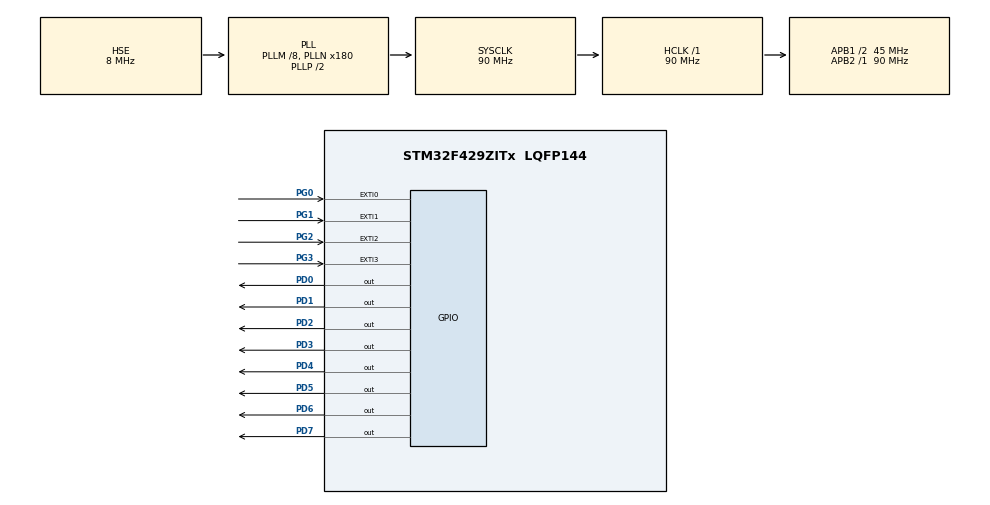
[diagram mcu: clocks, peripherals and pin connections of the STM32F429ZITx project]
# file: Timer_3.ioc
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Mcu.Family=STM32F4
Mcu.Name=STM32F429ZITx
Mcu.Package=LQFP144
NVIC.EXTI0_IRQn=true\:0\:0\:false\:false\:true\:true\:true\:true
NVIC.EXTI1_IRQn=true\:0\:0\:false\:false\:true\:true\:true\:true
NVIC.EXTI2_IRQn=true\:0\:0\:false\:false\:true\:true\:true\:true
NVIC.EXTI3_IRQn=true\:0\:0\:false\:false\:true\:true\:true\:true
NVIC.PriorityGroup=NVIC_PRIORITYGROUP_4
NVIC.TIM3_IRQn=true\:0\:0\:false\:false\:true\:true\:true\:true
NVIC.TIM6_DAC_IRQn=true\:0\:0\:false\:false\:true\:true\:true\:true
PA13.Mode=Serial_Wire
PA13.Signal=SYS_JTMS-SWDIO
PA14.Mode=Serial_Wire
PA14.Signal=SYS_JTCK-SWCLK
PD0.GPIO_ModeDefaultOutputPP=GPIO_MODE_OUTPUT_PP
PD0.GPIO_PuPd=GPIO_PULLUP
PD0.GPIO_Speed=GPIO_SPEED_FREQ_HIGH
PD0.PinState=GPIO_PIN_RESET
PD0.Signal=GPIO_Output
PD1.GPIO_ModeDefaultOutputPP=GPIO_MODE_OUTPUT_PP
PD1.GPIO_PuPd=GPIO_PULLUP
PD1.GPIO_Speed=GPIO_SPEED_FREQ_HIGH
PD1.PinState=GPIO_PIN_RESET
PD1.Signal=GPIO_Output
PD2.GPIO_ModeDefaultOutputPP=GPIO_MODE_OUTPUT_PP
PD2.GPIO_PuPd=GPIO_PULLUP
PD2.GPIO_Speed=GPIO_SPEED_FREQ_HIGH
PD2.PinState=GPIO_PIN_RESET
PD2.Signal=GPIO_Output
PD3.GPIO_ModeDefaultOutputPP=GPIO_MODE_OUTPUT_PP
PD3.GPIO_PuPd=GPIO_PULLUP
PD3.GPIO_Speed=GPIO_SPEED_FREQ_HIGH
PD3.PinState=GPIO_PIN_RESET
PD3.Signal=GPIO_Output
PD4.GPIO_ModeDefaultOutputPP=GPIO_MODE_OUTPUT_PP
PD4.GPIO_PuPd=GPIO_PULLUP
PD4.GPIO_Speed=GPIO_SPEED_FREQ_HIGH
PD4.PinState=GPIO_PIN_RESET
PD4.Signal=GPIO_Output
PD5.GPIO_ModeDefaultOutputPP=GPIO_MODE_OUTPUT_PP
PD5.GPIO_PuPd=GPIO_PULLUP
PD5.GPIO_Speed=GPIO_SPEED_FREQ_HIGH
PD5.PinState=GPIO_PIN_RESET
PD5.Signal=GPIO_Output
PD6.GPIO_ModeDefaultOutputPP=GPIO_MODE_OUTPUT_PP
PD6.GPIO_PuPd=GPIO_PULLUP
PD6.GPIO_Speed=GPIO_SPEED_FREQ_HIGH
PD6.PinState=GPIO_PIN_RESET
PD6.Signal=GPIO_Output
PD7.GPIO_ModeDefaultOutputPP=GPIO_MODE_OUTPUT_PP
PD7.GPIO_PuPd=GPIO_PULLUP
PD7.GPIO_Speed=GPIO_SPEED_FREQ_HIGH
PD7.PinState=GPIO_PIN_RESET
PD7.Signal=GPIO_Output
PG0.GPIO_ModeDefaultEXTI=GPIO_MODE_IT_FALLING
PG0.GPIO_PuPd=GPIO_NOPULL
PG0.Signal=GPXTI0
PG1.GPIO_ModeDefaultEXTI=GPIO_MODE_IT_FALLING
PG1.GPIO_PuPd=GPIO_NOPULL
PG1.Signal=GPXTI1
PG2.GPIO_ModeDefaultEXTI=GPIO_MODE_IT_FALLING
PG2.GPIO_PuPd=GPIO_NOPULL
PG2.Signal=GPXTI2
PG3.GPIO_ModeDefaultEXTI=GPIO_MODE_IT_FALLING
PG3.GPIO_PuPd=GPIO_NOPULL
PG3.Signal=GPXTI3
PH0/OSC_IN.Mode=HSE-External-Clock-Source
PH0/OSC_IN.Signal=RCC_OSC_IN
PH1/OSC_OUT.Mode=HSE-External-Clock-Source
PH1/OSC_OUT.Signal=RCC_OSC_OUT
ProjectManager.HeapSize=0x200
ProjectManager.StackSize=0x400
ProjectManager.TargetToolchain=STM32CubeIDE
RCC.48MHZClocksFreq_Value=45000000
RCC.AHBFreq_Value=90000000
RCC.APB1CLKDivider=RCC_HCLK_DIV2
RCC.APB1Freq_Value=45000000
RCC.APB1TimFreq_Value=90000000
RCC.APB2Freq_Value=90000000
RCC.APB2TimFreq_Value=90000000
RCC.CortexFreq_Value=90000000
RCC.HCLKFreq_Value=90000000
RCC.HSE_VALUE=8000000
RCC.HSI_VALUE=16000000
RCC.LSE_VALUE=32768
RCC.PLLM=8
RCC.PLLN=180
RCC.PLLSourceVirtual=RCC_PLLSOURCE_HSE
RCC.SYSCLKFreq_VALUE=90000000
RCC.SYSCLKSource=RCC_SYSCLKSOURCE_PLLCLK
RCC.VCOOutputFreq_Value=180000000
TIM3.CounterMode=TIM_COUNTERMODE_DOWN
TIM3.Period=4999
TIM3.Prescaler=8999
TIM6.Period=19999
TIM6.Prescaler=8999
VP_TIM3_VS_ClockSourceINT.Mode=Internal
VP_TIM6_VS_ClockSourceINT.Mode=Enable_Timer
board=custom

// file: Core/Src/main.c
/* USER CODE BEGIN Header */
/**
  ******************************************************************************
  * @file           : main.c
  * @brief          : Main program body
  ******************************************************************************
  * @attention
  *
  * Copyright (c) 2022 STMicroelectronics.
  * All rights reserved.
  *
  * This software is licensed under terms that can be found in the LICENSE file
  * in the root directory of this software component.
  * If no LICENSE file comes with this software, it is provided AS-IS.
  *
  ******************************************************************************
  */
/* USER CODE END Header */
#include "main.h"

TIM_HandleTypeDef htim3;
TIM_HandleTypeDef htim6;

void SystemClock_Config(void);
static void MX_GPIO_Init(void);
static void MX_TIM3_Init(void);
static void MX_TIM6_Init(void);
/* USER CODE BEGIN PFP */
void LED_OnOff(int,int);
int speed3 = 0, speed4 = 0;
/* USER CODE END PFP */

int main(void)
{
  /* USER CODE BEGIN 1 */
	uint16_t led = 0x01;
	uint16_t led1 = 0x80;
  /* USER CODE END 1 */

  /* MCU Configuration--------------------------------------------------------*/

  /* Reset of all peripherals, Initializes the Flash interface and the Systick. */
  HAL_Init();

  /* Configure the system clock */
  SystemClock_Config();

  /* Initialize all configured peripherals */
  MX_GPIO_Init();
  MX_TIM3_Init();
  MX_TIM6_Init();
  /* USER CODE BEGIN 2 */
  LED_OnOff(LED_ALL,500);
  HAL_TIM_Base_Start_IT(&htim3);
  HAL_TIM_Base_Start_IT(&htim6);
  /* USER CODE END 2 */

  /* Infinite loop */
  /* USER CODE BEGIN WHILE */
  while (1)
  {
	  if(speed3 == 1){
		  led <<=1;
		  if(led > 0x80){
			  led = 0x01;
			  LED_OnOff(led, 500);
		  }

	  }
	  else if(speed4 == 1){
		  led1 >>=1;
		  if(led1 > 0x01){
			  led1 = 0x80;
			  LED_OnOff(led1, 500);
		  }
	  }
    /* USER CODE END WHILE */

  }
}

void SystemClock_Config(void)
{
  RCC_OscInitTypeDef RCC_OscInitStruct = {0};
  RCC_ClkInitTypeDef RCC_ClkInitStruct = {0};

  /** Configure the main internal regulator output voltage
  */
  __HAL_RCC_PWR_CLK_ENABLE();
  __HAL_PWR_VOLTAGESCALING_CONFIG(PWR_REGULATOR_VOLTAGE_SCALE3);

  /** Initializes the RCC Oscillators according to the specified parameters
  * in the RCC_OscInitTypeDef structure.
  */
  RCC_OscInitStruct.OscillatorType = RCC_OSCILLATORTYPE_HSE;
  RCC_OscInitStruct.HSEState = RCC_HSE_BYPASS;
  RCC_OscInitStruct.PLL.PLLState = RCC_PLL_ON;
  RCC_OscInitStruct.PLL.PLLSource = RCC_PLLSOURCE_HSE;
  RCC_OscInitStruct.PLL.PLLM = 8;
  RCC_OscInitStruct.PLL.PLLN = 180;
  RCC_OscInitStruct.PLL.PLLP = RCC_PLLP_DIV2;
  RCC_OscInitStruct.PLL.PLLQ = 4;
  if (HAL_RCC_OscConfig(&RCC_OscInitStruct) != HAL_OK)
  {
    Error_Handler();
  }

  /** Activate the Over-Drive mode
  */
  if (HAL_PWREx_EnableOverDrive() != HAL_OK)
  {
    Error_Handler();
  }

  /** Initializes the CPU, AHB and APB buses clocks
  */
  RCC_ClkInitStruct.ClockType = RCC_CLOCKTYPE_HCLK|RCC_CLOCKTYPE_SYSCLK
                              |RCC_CLOCKTYPE_PCLK1|RCC_CLOCKTYPE_PCLK2;
  RCC_ClkInitStruct.SYSCLKSource = RCC_SYSCLKSOURCE_PLLCLK;
  RCC_ClkInitStruct.AHBCLKDivider = RCC_SYSCLK_DIV1;
  RCC_ClkInitStruct.APB1CLKDivider = RCC_HCLK_DIV2;
  RCC_ClkInitStruct.APB2CLKDivider = RCC_HCLK_DIV1;

  if (HAL_RCC_ClockConfig(&RCC_ClkInitStruct, FLASH_LATENCY_2) != HAL_OK)
  {
    Error_Handler();
  }
}

static void MX_TIM3_Init(void)
{

  TIM_ClockConfigTypeDef sClockSourceConfig = {0};
  TIM_MasterConfigTypeDef sMasterConfig = {0};

  htim3.Instance = TIM3;
  htim3.Init.Prescaler = 8999;
  htim3.Init.CounterMode = TIM_COUNTERMODE_DOWN;
  htim3.Init.Period = 4999;
  htim3.Init.ClockDivision = TIM_CLOCKDIVISION_DIV1;
  htim3.Init.AutoReloadPreload = TIM_AUTORELOAD_PRELOAD_DISABLE;
  if (HAL_TIM_Base_Init(&htim3) != HAL_OK)
  {
    Error_Handler();
  }
  sClockSourceConfig.ClockSource = TIM_CLOCKSOURCE_INTERNAL;
  if (HAL_TIM_ConfigClockSource(&htim3, &sClockSourceConfig) != HAL_OK)
  {
    Error_Handler();
  }
  sMasterConfig.MasterOutputTrigger = TIM_TRGO_RESET;
  sMasterConfig.MasterSlaveMode = TIM_MASTERSLAVEMODE_DISABLE;
  if (HAL_TIMEx_MasterConfigSynchronization(&htim3, &sMasterConfig) != HAL_OK)
  {
    Error_Handler();
  }

}

static void MX_TIM6_Init(void)
{

  TIM_MasterConfigTypeDef sMasterConfig = {0};

  htim6.Instance = TIM6;
  htim6.Init.Prescaler = 8999;
  htim6.Init.CounterMode = TIM_COUNTERMODE_UP;
  htim6.Init.Period = 19999;
  htim6.Init.AutoReloadPreload = TIM_AUTORELOAD_PRELOAD_DISABLE;
  if (HAL_TIM_Base_Init(&htim6) != HAL_OK)
  {
    Error_Handler();
  }
  sMasterConfig.MasterOutputTrigger = TIM_TRGO_RESET;
  sMasterConfig.MasterSlaveMode = TIM_MASTERSLAVEMODE_DISABLE;
  if (HAL_TIMEx_MasterConfigSynchronization(&htim6, &sMasterConfig) != HAL_OK)
  {
    Error_Handler();
  }

}

static void MX_GPIO_Init(void)
{
  GPIO_InitTypeDef GPIO_InitStruct = {0};

  /* GPIO Ports Clock Enable */
  __HAL_RCC_GPIOH_CLK_ENABLE();
  __HAL_RCC_GPIOG_CLK_ENABLE();
  __HAL_RCC_GPIOA_CLK_ENABLE();
  __HAL_RCC_GPIOD_CLK_ENABLE();

  /*Configure GPIO pin Output Level */
  HAL_GPIO_WritePin(GPIOD, GPIO_PIN_0|GPIO_PIN_1|GPIO_PIN_2|GPIO_PIN_3
                          |GPIO_PIN_4|GPIO_PIN_5|GPIO_PIN_6|GPIO_PIN_7, GPIO_PIN_RESET);

  /*Configure GPIO pins : PG0 PG1 PG2 PG3 */
  GPIO_InitStruct.Pin = GPIO_PIN_0|GPIO_PIN_1|GPIO_PIN_2|GPIO_PIN_3;
  GPIO_InitStruct.Mode = GPIO_MODE_IT_FALLING;
  GPIO_InitStruct.Pull = GPIO_NOPULL;
  HAL_GPIO_Init(GPIOG, &GPIO_InitStruct);

  /*Configure GPIO pins : PD0 PD1 PD2 PD3
                           PD4 PD5 PD6 PD7 */
  GPIO_InitStruct.Pin = GPIO_PIN_0|GPIO_PIN_1|GPIO_PIN_2|GPIO_PIN_3
                          |GPIO_PIN_4|GPIO_PIN_5|GPIO_PIN_6|GPIO_PIN_7;
  GPIO_InitStruct.Mode = GPIO_MODE_OUTPUT_PP;
  GPIO_InitStruct.Pull = GPIO_PULLUP;
  GPIO_InitStruct.Speed = GPIO_SPEED_FREQ_HIGH;
  HAL_GPIO_Init(GPIOD, &GPIO_InitStruct);

  /* EXTI interrupt init*/
  HAL_NVIC_SetPriority(EXTI0_IRQn, 0, 0);
  HAL_NVIC_EnableIRQ(EXTI0_IRQn);

  HAL_NVIC_SetPriority(EXTI1_IRQn, 0, 0);
  HAL_NVIC_EnableIRQ(EXTI1_IRQn);

  HAL_NVIC_SetPriority(EXTI2_IRQn, 0, 0);
  HAL_NVIC_EnableIRQ(EXTI2_IRQn);

  HAL_NVIC_SetPriority(EXTI3_IRQn, 0, 0);
  HAL_NVIC_EnableIRQ(EXTI3_IRQn);

}

/* USER CODE BEGIN 4 */
void LED_OnOff(int led, int interval){
   HAL_GPIO_WritePin(GPIO_LED, led, GPIO_PIN_SET);
   HAL_GPIO_WritePin(GPIO_LED_Nucleo, led, GPIO_PIN_SET);

   HAL_Delay(interval);

   HAL_GPIO_WritePin(GPIO_LED, led, GPIO_PIN_RESET);
   HAL_GPIO_WritePin(GPIO_LED_Nucleo, led, GPIO_PIN_RESET);
}
void HAL_TIM_PeriodElapsedCallback(TIM_HandleTypeDef *htim)
{
	if(htim -> Instance == TIM3) speed3 = 1;
	if(htim -> Instance == TIM6) speed4 = 1;
}
/* USER CODE END 4 */

void Error_Handler(void)
{
  __disable_irq();
  while (1)
  {
  }
}
